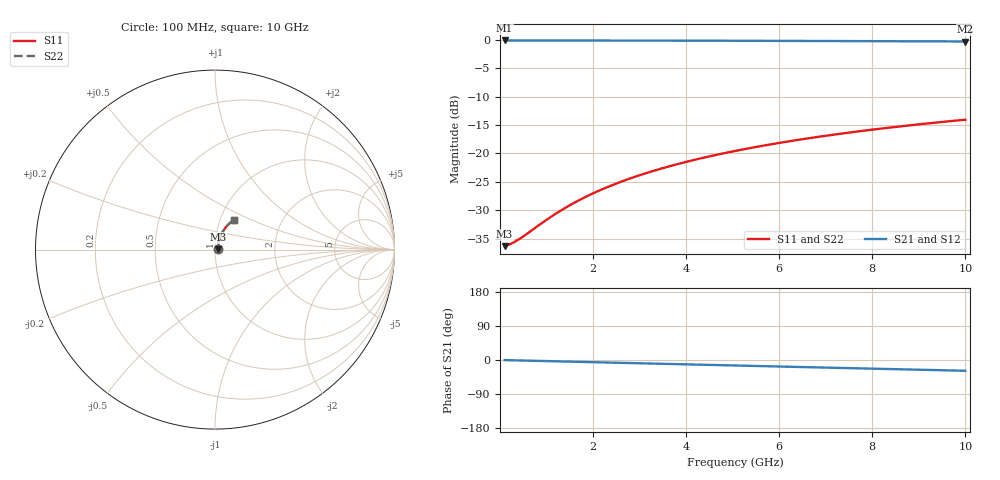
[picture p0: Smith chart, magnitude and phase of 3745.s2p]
# Hz S RI R 50.00
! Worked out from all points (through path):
!   100 points, 100 MHz to 10 GHz, reference 50 ohm
!   highest |S21| = -0.13 dB at 100 MHz (marker M1); lowest = -0.3 dB at 10 GHz (marker M2)
!   group delay of S21, straight-line fit = 7.9 ps
!   lowest |S11| = -36.3 dB at 100 MHz (marker M3), VSWR 1.03, Z = 51.5 + j0.207 ohm
!   |S11| at or under -10 dB: start of sweep to end of sweep
!   |S22| runs from -36.3 to -14.1 dB; largest |S21 - S12| = 0
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1e8  0.0151 0.00201  0.9849 -0.00495  0.9849 -0.00495  0.0151 0.00201
2e8  0.0153 0.00402  0.9847 -0.0099  0.9847 -0.0099  0.0153 0.00402
3e8  0.0154 0.00602  0.9846 -0.0148  0.9846 -0.0148  0.0154 0.00602
4e8  0.0155 0.00803  0.9844 -0.0198  0.9844 -0.0198  0.0155 0.00803
1e9  0.0166 0.02  0.983 -0.0494  0.983 -0.0494  0.0166 0.02
1.2e9  0.0171 0.024  0.9823 -0.0593  0.9823 -0.0593  0.0171 0.024
1.5e9  0.018 0.03  0.981 -0.074  0.981 -0.074  0.018 0.03
1.8e9  0.019 0.0359  0.9795 -0.0888  0.9795 -0.0888  0.019 0.0359
2.1e9  0.0203 0.0418  0.9778 -0.1035  0.9778 -0.1035  0.0203 0.0418
2.5e9  0.0222 0.0495  0.975 -0.123  0.975 -0.123  0.0222 0.0495
2.9e9  0.0244 0.0572  0.9719 -0.1424  0.9719 -0.1424  0.0244 0.0572
3.4e9  0.0276 0.0667  0.9673 -0.1666  0.9673 -0.1666  0.0276 0.0667
3.8e9  0.0305 0.0741  0.9631 -0.1858  0.9631 -0.1858  0.0305 0.0741
4.2e9  0.0337 0.0814  0.9585 -0.2048  0.9585 -0.2048  0.0337 0.0814
4.6e9  0.0371 0.0886  0.9535 -0.2237  0.9535 -0.2237  0.0371 0.0886
5.1e9  0.0418 0.0973  0.9467 -0.2471  0.9467 -0.2471  0.0418 0.0973
5.9e9  0.0503 0.1107  0.9344 -0.2839  0.9344 -0.2839  0.0503 0.1107
6.7e9  0.0597 0.1234  0.9205 -0.32  0.9205 -0.32  0.0597 0.1234
7.5e9  0.07 0.1352  0.9051 -0.3552  0.9051 -0.3552  0.07 0.1352
8.4e9  0.0827 0.1474  0.8861 -0.3937  0.8861 -0.3937  0.0827 0.1474
9.2e9  0.0948 0.1572  0.8677 -0.4268  0.8677 -0.4268  0.0948 0.1572
1e10  0.1075 0.166  0.8481 -0.4589  0.8481 -0.4589  0.1075 0.166
